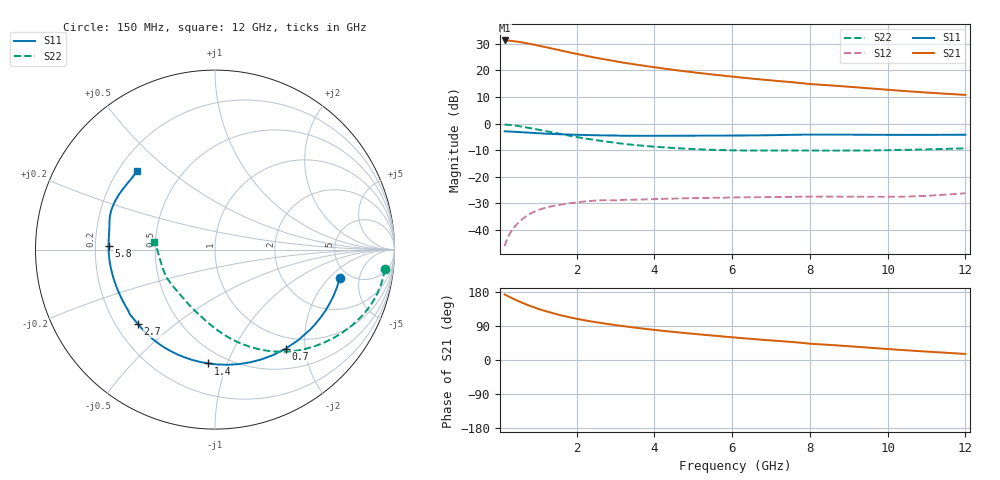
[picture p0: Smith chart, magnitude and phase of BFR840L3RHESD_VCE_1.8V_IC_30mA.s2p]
! Infineon Technologies  Discrete & RF Semiconductors
! BFR840L3RHESD
! VCE =  1.8 V,  IC =  30 mA
! Common Emitter S-Parameters:  Jun 2012
# GHz  S  MA  R  50
!  f  S11  S21  S12  S22
! GHz  MAG  ANG  MAG  ANG  MAG  ANG  MAG  ANG
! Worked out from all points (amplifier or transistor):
!   91 points, 150 MHz to 12 GHz, reference 50 ohm
!   highest |S21| = 31.3 dB at 150 MHz (marker M1)
!   |S21| within 3 dB of that: start of sweep to 1.354 GHz
!   unconditionally stable (mu >= 1): 6.275 GHz to end of sweep
!   at 1.3 GHz: K = 0.24, MSG = 29.9 dB, |S12| = -31.4 dB
!   at 4.3 GHz: K = 0.71, MSG = 24.5 dB, |S12| = -28.3 dB
!   at 12 GHz: K = 1.78, MAG = 13.4 dB, |S12| = -26.3 dB
!   S11 on the Smith chart (normalised r, x): 150 MHz: 4.19, -2.68; 700 MHz: 0.81, -1.65; 1.4 GHz: 0.40, -0.86; 2.7 GHz: 0.29, -0.37; 5.8 GHz: 0.26, +0.02; 12 GHz: 0.28, +0.39
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0.15  0.7132 -12.7  36.7 172.8  0.0049 80.6  0.9525 -6.6
0.25  0.7092 -20.9  36.39 167.7  0.0076 80.0  0.9445 -12.4
0.4  0.6996 -32.7  35.42 160.3  0.0112 73.2  0.9193 -20.0
0.5  0.6925 -40.3  34.58 155.6  0.0135 68.8  0.897 -24.6
0.7  0.6781 -54.4  32.67 146.9  0.0179 61.9  0.847 -33.1
0.8  0.6711 -60.9  31.66 142.9  0.0198 59.3  0.8213 -37.1
1  0.6576 -72.9  29.58 135.6  0.0232 54.8  0.771 -44.5
1.2  0.6455 -83.7  27.51 129.2  0.0259 50.7  0.7229 -51.2
1.4  0.6354 -93.4  25.54 123.3  0.028 46.8  0.6772 -57.2
1.6  0.6272 -102.1  23.71 118.0  0.0297 43.1  0.634 -62.7
1.8  0.6204 -109.8  22.04 113.2  0.0313 40.1  0.5941 -67.8
2.2  0.6088 -123.1  19.14 105.0  0.034 36.5  0.5269 -76.7
2.7  0.597 -136.2  16.3 96.7  0.036 32.4  0.4637 -85.9
3  0.5953 -143.0  14.92 92.0  0.0356 31.0  0.436 -90.8
3.4  0.5879 -150.7  13.33 86.8  0.0367 29.6  0.4007 -97.1
4.2  0.5873 -163.1  10.96 77.2  0.0381 28.5  0.3577 -108.4
5.8  0.5934 178.0  7.935 61.7  0.0402 27.5  0.3156 -129.2
6.1  0.5945 175.0  7.526 59.1  0.0406 27.4  0.3126 -132.8
8  0.6187 157.9  5.537 43.0  0.042 27.9  0.3095 -157.0
8.5  0.6189 154.5  5.245 39.9  0.0421 28.1  0.3091 -161.3
10.5  0.6111 141.5  4.061 25.5  0.0421 35.8  0.3195 -178.3
12  0.6159 135.0  3.463 16.0  0.0486 41.6  0.3419 172.6
